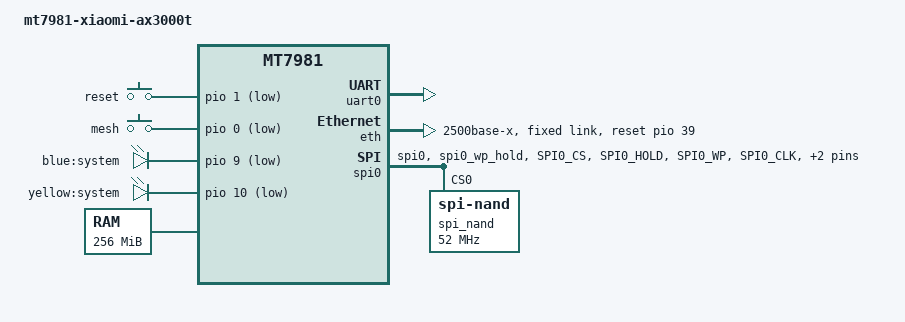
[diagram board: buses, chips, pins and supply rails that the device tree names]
// SPDX-License-Identifier: GPL-2.0

/dts-v1/;
#include "mt7981.dtsi"
#include <dt-bindings/gpio/gpio.h>

/ {
	#address-cells = <1>;
	#size-cells = <1>;
	model = "mt7981-xiaomi-ax3000t";
	compatible = "mediatek,mt7981", "mediatek,mt7981-rfb";

	chosen {
		stdout-path = &uart0;
		tick-timer = &timer0;
	};

	config {
		bootcmd = "mtkboardboot";
		blink_led = "yellow:system";
		system_led = "blue:system";
	};

	mtd-layout {
		layout@0 {
			label = "default";
			// mtd layout for xiaomi stock ubi or openwrt-stock/immortalwrt-stock firmware
			cmdline = "console=ttyS0,115200n1 loglevel=8 swiotlb=512 firmware=0 mtd=ubi uart_en=1";
			mtdids = "nmbm0=nmbm0";
			mtdparts = "nmbm0:1024k(bl2),256k(Nvram),256k(Bdata),2048k(factory),2048k(fip),256k(crash),256k(crash_log),34816k(ubi_kernel),79872k(ubi),256k(KF)";
			boot_part = "ubi_kernel"; // ubi boot part, default is "ubi"
			factory_part = "ubi_kernel"; // factory firmware write part, default is "ubi"
			sysupgrade_kernel_ubipart = "ubi_kernel"; // sysupgrade kernel write part (ubi volume: kernel), default is "ubi"
			sysupgrade_rootfs_ubipart = "ubi"; // sysupgrade rootfs write part (ubi volume: rootfs, rootfs_data)
		};

		layout@1 {
			label = "immortalwrt-112m";
			// mtd layout for immortalwrt/openwrt 112M ubi firmware
			mtdids = "nmbm0=nmbm0";
			mtdparts = "nmbm0:1024k(bl2),256k(Nvram),256k(Bdata),2048k(factory),2048k(fip),256k(crash),256k(crash_log),112m(ubi),256k(KF)";
		};

		layout@2 {
			label = "qwrt";
			// mtd layout for lean qwrt
			mtdids = "nmbm0=nmbm0";
			mtdparts = "nmbm0:1024k(bl2),256k(Nvram),256k(Bdata),2048k(factory),2048k(fip),256k(crash),256k(crash_log),100m(ubi),12m(data),256k(KF)";
		};
	};

	gpio-keys {
		compatible = "gpio-keys";

		reset-button {
			label = "reset";
			linux,code = <KEY_RESTART>;
			gpios = <&pio 1 GPIO_ACTIVE_LOW>;
		};

		mesh-button {
			label = "mesh";
			linux,code = <BTN_9>;
			gpios = <&pio 0 GPIO_ACTIVE_LOW>;
		};
	};

	leds {
		compatible = "gpio-leds";

		led-0 {
			label = "blue:system";
			gpios = <&pio 9 GPIO_ACTIVE_LOW>;
		};

		led-1 {
			label = "yellow:system";
			gpios = <&pio 10 GPIO_ACTIVE_LOW>;
		};
	};

	memory@40000000 {
		device_type = "memory";
		reg = <0x40000000 0x10000000>;
	};

	bl2_verify {
		bl2_compatible = "spim-nand";
	};
};

&uart0 {
	status = "okay";
};

&eth {
	status = "okay";
	mediatek,gmac-id = <0>;
	phy-mode = "2500base-x";
	mediatek,switch = "auto";
	reset-gpios = <&pio 39 GPIO_ACTIVE_HIGH>;

	fixed-link {
		speed = <2500>;
		full-duplex;
	};
};

&pio {
	spi_flash_pins: spi0-pins-func-1 {
		mux {
			function = "flash";
			groups = "spi0", "spi0_wp_hold";
		};

		conf-pu {
			pins = "SPI0_CS", "SPI0_HOLD", "SPI0_WP";
			drive-strength = <MTK_DRIVE_4mA>;
			bias-pull-up = <MTK_PUPD_SET_R1R0_11>;
		};

		conf-pd {
			pins = "SPI0_CLK", "SPI0_MOSI", "SPI0_MISO";
			drive-strength = <MTK_DRIVE_4mA>;
			bias-pull-down = <MTK_PUPD_SET_R1R0_11>;
		};
	};
};

&spi0 {
	#address-cells = <1>;
	#size-cells = <0>;
	pinctrl-names = "default";
	pinctrl-0 = <&spi_flash_pins>;
	status = "okay";
	must_tx;
	enhance_timing;
	dma_ext;
	ipm_design;
	support_quad;
	tick_dly = <2>;
	sample_sel = <0>;

	spi_nand@0 {
		compatible = "spi-nand";
		reg = <0>;
		spi-max-frequency = <52000000>;
	};
};

&watchdog {
	status = "disabled";
};
